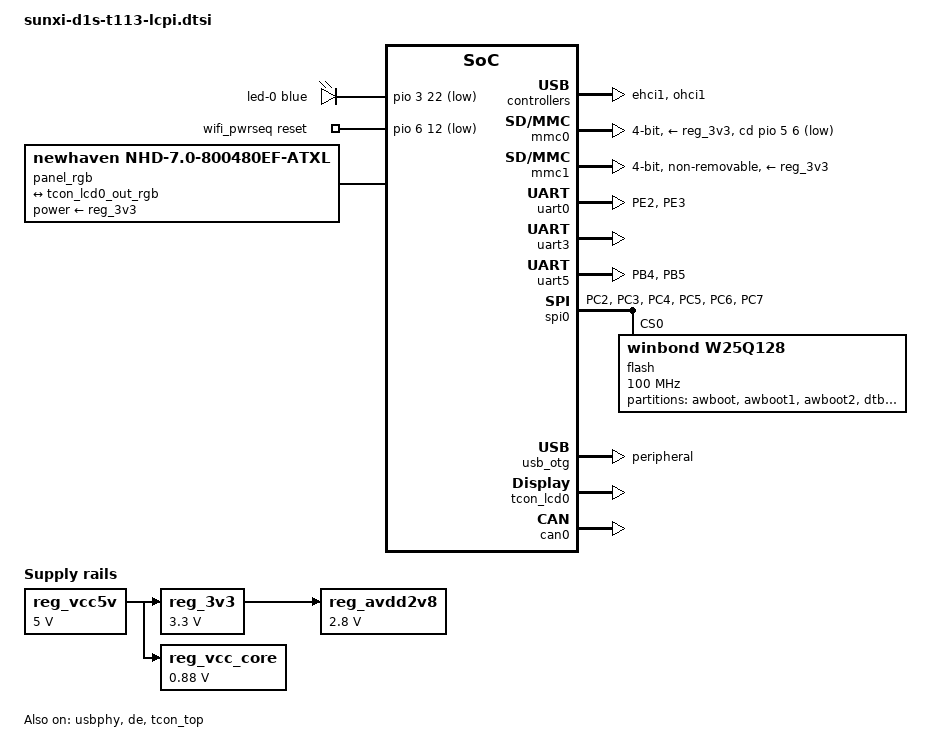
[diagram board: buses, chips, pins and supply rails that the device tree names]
// SPDX-License-Identifier: (GPL-2.0+ OR MIT)
// Copyright (C) 2022 Arm Ltd.
/*
 * Common peripherals and configurations for MangoPi MQ-R boards.
 */

#include <dt-bindings/gpio/gpio.h>
#include <dt-bindings/leds/common.h>

/ {
	aliases {
		serial0 = &uart0;
		serial5 = &uart5;
	};

	chosen {
		stdout-path = "serial0:115200n8";
		bootargs = "debug mem=128M cma=32M root=/dev/mmcblk0p2 init=/sbin/init console=ttyS0,115200 rootwait clk_ignore_unused drm.debug=0x3";
	};

	leds {
		compatible = "gpio-leds";

		led-0 {
			color = <LED_COLOR_ID_BLUE>;
			function = LED_FUNCTION_CPU;
			linux,default-trigger = "cpu";
			gpios = <&pio 3 22 GPIO_ACTIVE_LOW>; /* PD22 */
		};
	};

	/* board wide 5V supply directly from the USB-C socket */
	reg_vcc5v: regulator-5v {
		compatible = "regulator-fixed";
		regulator-name = "vcc-5v";
		regulator-min-microvolt = <5000000>;
		regulator-max-microvolt = <5000000>;
		regulator-always-on;
	};

	/* SY8008 DC/DC regulator on the board */
	reg_3v3: regulator-3v3 {
		compatible = "regulator-fixed";
		regulator-name = "vcc-3v3";
		regulator-min-microvolt = <3300000>;
		regulator-max-microvolt = <3300000>;
		vin-supply = <&reg_vcc5v>;
	};

	/* SY8008 DC/DC regulator on the board, also supplying VDD-SYS */
	reg_vcc_core: regulator-core {
		compatible = "regulator-fixed";
		regulator-name = "vcc-core";
		regulator-min-microvolt = <880000>;
		regulator-max-microvolt = <880000>;
		vin-supply = <&reg_vcc5v>;
	};

	/* XC6206 LDO on the board */
	reg_avdd2v8: regulator-avdd {
		compatible = "regulator-fixed";
		regulator-name = "avdd2v8";
		regulator-min-microvolt = <2800000>;
		regulator-max-microvolt = <2800000>;
		vin-supply = <&reg_3v3>;
	};

	wifi_pwrseq: wifi-pwrseq {
		compatible = "mmc-pwrseq-simple";
		reset-gpios = <&pio 6 12 GPIO_ACTIVE_LOW>; /* PG12 */
	};

	panel_rgb: panel-rgb {
		compatible = "newhaven,nhd-7.0-800480ef-atxl";
		power-supply = <&reg_3v3>;
		/* backlight = <&backlight>; */
		/* enable-gpios = <&gpioi 12 GPIO_ACTIVE_HIGH>; */
		status = "okay";
		port {
			panel_in_rgb: endpoint {
				remote-endpoint = <&tcon_lcd0_out_rgb>;
			};
		};
	};
};

&dcxo {
	clock-frequency = <24000000>;
};

&ehci1 {
	status = "okay";
};

&mmc0 {
	pinctrl-0 = <&mmc0_pins>;
	pinctrl-names = "default";
	vmmc-supply = <&reg_3v3>;
	cd-gpios = <&pio 5 6 GPIO_ACTIVE_LOW>;
	disable-wp;
	bus-width = <4>;
	status = "okay";
};

&mmc1 {
	pinctrl-0 = <&mmc1_pins>;
	pinctrl-names = "default";
	vmmc-supply = <&reg_3v3>;
	non-removable;
	bus-width = <4>;
	mmc-pwrseq = <&wifi_pwrseq>;
	status = "okay";
};

&ohci1 {
	status = "okay";
};

&pio {
	vcc-pb-supply = <&reg_3v3>;
	vcc-pd-supply = <&reg_3v3>;
	vcc-pe-supply = <&reg_avdd2v8>;
	vcc-pf-supply = <&reg_3v3>;
	vcc-pg-supply = <&reg_3v3>;

	/omit-if-no-ref/
	uart5_pb_pins: uart5-pb-pins {
		pins = "PB4", "PB5";
		function = "uart5";
	};

	/omit-if-no-ref/
	uart0_pe_pins: uart0-pe-pins {
		pins = "PE2", "PE3";
		function = "uart0";
	};

	/omit-if-no-ref/
	spi0_full_pins: spi0-full-pins {
		pins = "PC2", "PC3", "PC4", "PC5", "PC6", "PC7";
		function = "spi0";
	};
};

&uart0 {
	pinctrl-names = "default";
	pinctrl-0 = <&uart0_pe_pins>;
	status = "okay";
};

&uart3 {
	pinctrl-names = "default";
	pinctrl-0 = <&uart3_pb_pins>;
	status = "okay";
};

&uart5 {
	pinctrl-names = "default";
	pinctrl-0 = <&uart5_pb_pins>;
	status = "okay";
};

&spi0 {
	pinctrl-names = "default";
	pinctrl-0 = <&spi0_full_pins>;
	status = "okay";

	flash@0 {
		#address-cells = <1>;
		#size-cells = <1>;
		compatible = "winbond,w25q128", "jedec,spi-nor";
		reg = <0>;
		spi-max-frequency = <100000000>;

		partitions {
			compatible = "fixed-partitions";
			#address-cells = <1>;
			#size-cells = <1>;

			partition@0 {
				label = "awboot";
				reg = <0x00000000 0x00010000>;
			};

			partition@1 {
				label = "awboot1";
				reg = <0x00010000 0x00010000>;
			};

			partition@2 {
				label = "awboot2";
				reg = <0x00020000 0x00010000>;
			};

			/* 256 Kbytes */
			partition@3 {
				label = "dtb";
				reg = <0x00040000 0x00040000>;
			};

			/* 7.5 Mbytes */
			partition@4 {
				label = "kernel";
				reg = <0x00080000 0x00780000>;
			};

			/* 8 Mbytes */
			partition@5 {
				label = "rootfs";
				reg = <0x00800000 0x00800000>;
			};
		};
	};
};

/* The USB-C socket has its CC pins pulled to GND, so is hardwired as a UFP. */
&usb_otg {
	dr_mode = "peripheral";
	status = "okay";
};

&usbphy {
	usb1_vbus-supply = <&reg_vcc5v>;
	status = "okay";
};

&de {
	status = "okay";
};

&tcon_top {
	status = "okay";
};

&tcon_lcd0 {
	pinctrl-names = "default";
	pinctrl-0 = <&lcd_rgb666_pins>;

	status = "okay";
};

&tcon_lcd0_out {
	tcon_lcd0_out_rgb: endpoint@0 {
		reg = <0>;
		remote-endpoint = <&panel_in_rgb>;
	};
};

&tcon_tv0 {
	status = "disabled";
};

&can0 {
	status = "okay";
};
